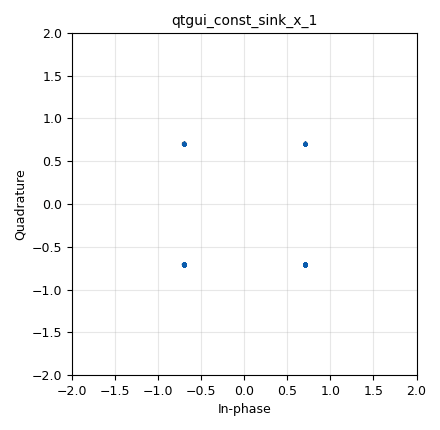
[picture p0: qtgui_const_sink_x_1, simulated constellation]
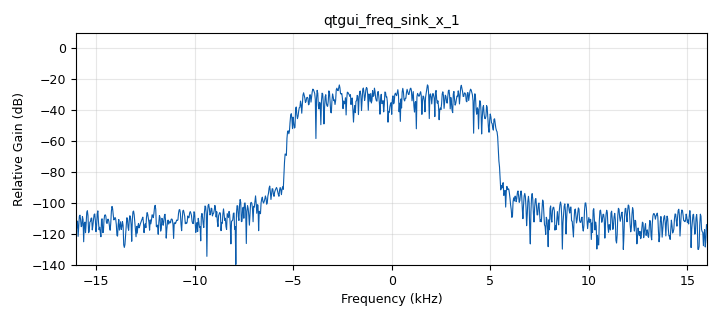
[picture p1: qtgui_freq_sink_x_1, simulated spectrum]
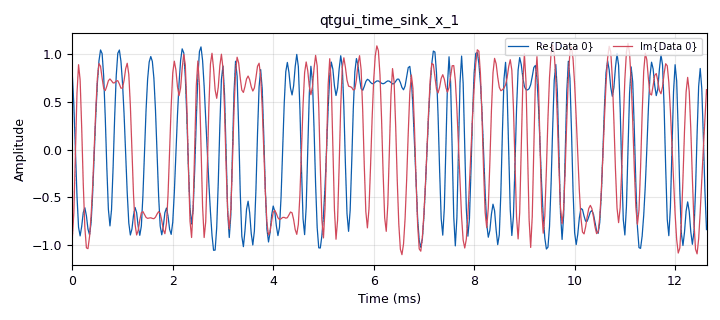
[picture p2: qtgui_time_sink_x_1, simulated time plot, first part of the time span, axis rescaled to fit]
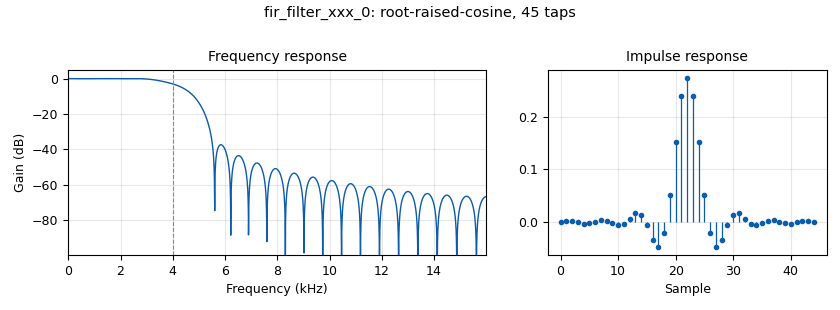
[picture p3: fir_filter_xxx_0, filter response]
options:
  parameters:
    author: Gerez
    category: Custom
    comment: https://wiki.gnuradio.org/index.php?title=QPSK_Mod_and_Demod
    generate_options: qt_gui
    id: transmisor
    output_language: python
    title: transmisor
  states: {}

blocks:
- name: excess_bw
  id: variable
  parameters:
    value: '0.35'
  states: {}
- name: freq_offset
  id: variable_qtgui_range
  parameters:
    gui_hint: 0,2,1,1
    label: 'Channel: Frequency Offset'
    start: '-0.1'
    step: '0.001'
    stop: '0.1'
    value: '0.025'
  states: {state: disabled}
- name: qpsk
  id: variable_constellation_rect
  parameters:
    const_points: '[1+1j, -1+1j, -1-1j, 1-1j]'
    imag_sect: '2'
    real_sect: '2'
    rot_sym: '4'
    sym_map: '[0, 1, 2, 3]'
    w_imag_sect: '1'
    w_real_sect: '1'
  states: {}
- name: rrc_1
  id: variable_rrc_filter_taps
  parameters:
    alpha: '0.35'
    gain: '1.0'
    ntaps: 11*sps
    samp_rate: samp_rate
    sym_rate: samp_rate/sps
  states: {}
- name: samp_rate
  id: variable
  parameters:
    value: '32000'
  states: {}
- name: sps
  id: variable
  parameters:
    value: '4'
  states: {}
- name: time_offset
  id: variable_qtgui_range
  parameters:
    gui_hint: 0,1,1,1
    label: 'Channel: Timing Offset'
    start: '0.999'
    step: '0.0001'
    stop: '1.001'
    value: '1.0005'
  states: {state: disabled}
- name: analog_random_source_x_0
  id: analog_random_source_x
  parameters:
    max: '256'
    min: '0'
    num_samps: '1024'
    repeat: 'True'
    type: byte
  states: {}
- name: blocks_stream_to_tagged_stream_0
  id: blocks_stream_to_tagged_stream
  parameters:
    comment: segmenta en paquetes etiquetados.
    len_tag_key: '"packet_len"'
    packet_len: '128'
    type: byte
  states: {}
- name: blocks_throttle2_0
  id: blocks_throttle2
  parameters:
    samples_per_second: samp_rate
    type: complex
  states: {state: disabled}
- name: channels_channel_model_0
  id: channels_channel_model
  parameters:
    comment: Epsilon is the time offset
    epsilon: time_offset
    freq_offset: frec_offset
    noise_voltage: noise_volt
    seed: '0'
    taps: '1'
  states: {state: disabled}
- name: digital_constellation_modulator_0
  id: digital_constellation_modulator
  parameters:
    constellation: qpsk
    differential: 'True'
    excess_bw: excess_bw
    samples_per_symbol: sps
  states: {}
- name: digital_crc32_bb_0
  id: digital_crc32_bb
  parameters:
    check: 'False'
    comment: |-
      agrega CRC basado en la longitud 
      de los paquetes etiquetados.
    lengthtagname: '"packet_len"'
    packed: 'True'
  states: {}
- name: digital_symbol_sync_xx_0
  id: digital_symbol_sync_xx
  parameters:
    constellation: qpsk
    damping: '1.0'
    loop_bw: '0.045'
    max_dev: '1.5'
    osps: '1'
    resamp_type: digital.IR_MMSE_8TAP
    sps: sps
    ted_gain: '1.0'
    ted_type: digital.TED_MUELLER_AND_MULLER
    type: cc
  states: {}
- name: fir_filter_xxx_0
  id: fir_filter_xxx
  parameters:
    decim: '1'
    taps: rrc_1
    type: ccc
  states: {}
- name: qtgui_const_sink_x_0
  id: qtgui_const_sink_x
  parameters:
    gui_hint: 1,2,1,2
    name: ''
    size: '1024'
    type: complex
  states: {state: disabled}
- name: qtgui_const_sink_x_1
  id: qtgui_const_sink_x
  parameters:
    size: '1024'
    type: complex
  states: {}
- name: qtgui_freq_sink_x_0
  id: qtgui_freq_sink_x
  parameters:
    bw: samp_rate
    fc: '0'
    fftsize: '1024'
    gui_hint: 2,0,1,4
    name: ''
    showports: 'True'
    type: complex
    width1: '2'
  states: {state: disabled}
- name: qtgui_freq_sink_x_1
  id: qtgui_freq_sink_x
  parameters:
    bw: samp_rate
    fc: '0'
    fftsize: '1024'
    type: complex
  states: {}
- name: qtgui_time_sink_x_0
  id: qtgui_time_sink_x
  parameters:
    gui_hint: 1,0,1,2
    label1: ''
    label2: ''
    name: ''
    size: '200'
    srate: samp_rate
    type: complex
    ymax: '2'
    ymin: '-2'
  states: {state: disabled}
- name: qtgui_time_sink_x_1
  id: qtgui_time_sink_x
  parameters:
    size: '1024'
    srate: samp_rate
    type: complex
  states: {}

connections:
- [analog_random_source_x_0, '0', blocks_stream_to_tagged_stream_0, '0']
- [blocks_stream_to_tagged_stream_0, '0', digital_crc32_bb_0, '0']
- [blocks_throttle2_0, '0', qtgui_const_sink_x_0, '0']
- [blocks_throttle2_0, '0', qtgui_freq_sink_x_0, '0']
- [blocks_throttle2_0, '0', qtgui_time_sink_x_0, '0']
- [digital_constellation_modulator_0, '0', fir_filter_xxx_0, '0']
- [digital_constellation_modulator_0, '0', qtgui_freq_sink_x_1, '0']
- [digital_constellation_modulator_0, '0', qtgui_time_sink_x_1, '0']
- [digital_crc32_bb_0, '0', digital_constellation_modulator_0, '0']
- [digital_symbol_sync_xx_0, '0', qtgui_const_sink_x_1, '0']
- [fir_filter_xxx_0, '0', digital_symbol_sync_xx_0, '0']

metadata:
  file_format: 1
  grc_version: 3.10.12.0
